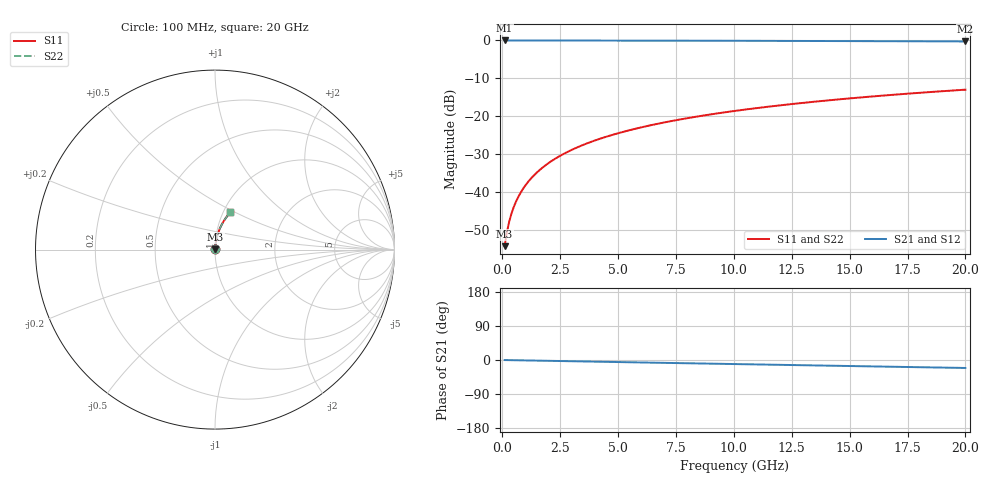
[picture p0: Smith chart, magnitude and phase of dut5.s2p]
! Touchstone file exported from HFSS 2026.1.0
!  File:  C:/ffzhzh/LocalFiles/Ansys_Project_Files/temp_test_BSMRDL_5_1782907247_13352.aedt
!  Generated:  08:02:05 PM Jul  1, 2026
!  Design:  BSMRDL
!  Project:  temp_test_BSMRDL_5_1782907247_13352
! Variables:
!  h_bsmrdl = 3.46um
!  h_ox = 20um
!  h_rdl = 5um
!  h_sub = 80um
!  h_tmrdl = 5um
!  h_tsv = 80um
!  h_via = 3um
!  l_bsmrdl = 256.47um
!  l_sub = 656.47um
!  l_tmrdl = 200um
!  m_sub = 200um
!  pitch = 50.98um
!  r_tsv = 6um
!  s_tmrdl = 10um
!  w_bsmrdl = 21.28um
!  w_sub = 500um
!  w_tmrdl = 12um
!  x_tsv_center1 = 206um
!  x_tsv_center2 = 483.75um
!  x_tsv_center3 = 695.75um
!  x_tsv_center4 = 973.5um
!  x_tsv_center5 = 1185.5um
!  x_tsv_center6 = 1463.25um
# GHz S MA R 50.000000
! Terminal data exported
! Port[1] = BSM_RDL1_1_T1
! Port[2] = BSM_RDL1_1_T2
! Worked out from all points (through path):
!   200 points, 100 MHz to 20 GHz, reference 50 ohm
!   highest |S21| = -0.01 dB at 100 MHz (marker M1); lowest = -0.3 dB at 20 GHz (marker M2)
!   group delay of S21, straight-line fit = 2.92 ps
!   lowest |S11| = -54.2 dB at 100 MHz (marker M3), VSWR 1.00, Z = 50.1 + j0.13 ohm
!   |S11| at or under -10 dB: start of sweep to end of sweep
!   |S22| runs from -54.2 to -13.0 dB; largest |S21 - S12| = 3.5e-15
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0.1  0.001947 41.7  0.9985 -0.1  0.9985 -0.1  0.001947 41.7
! Gamma 0 0 0 0
! Port Impedance 50 0 50 0
0.2  0.002978 59.4  0.9985 -0.2  0.9985 -0.2  0.002978 59.4
0.3  0.004118 67.2  0.9984 -0.3  0.9984 -0.3  0.004118 67.2
0.4  0.005278 71.6  0.9984 -0.4  0.9984 -0.4  0.005278 71.6
0.5  0.006444 74.4  0.9983 -0.6  0.9983 -0.6  0.006444 74.4
0.6  0.007614 76.4  0.9983 -0.7  0.9983 -0.7  0.007614 76.4
0.8  0.009965 78.9  0.9982 -0.9  0.9982 -0.9  0.009965 78.9
1.1  0.01352 81.1  0.9981 -1.2  0.9981 -1.2  0.01352 81.1
1.5  0.01828 82.5  0.998 -1.6  0.998 -1.6  0.01828 82.5
1.8  0.02186 83.0  0.9978 -2.0  0.9978 -2.0  0.02186 83.0
2.1  0.02545 83.3  0.9977 -2.3  0.9977 -2.3  0.02545 83.3
2.7  0.03261 83.4  0.9974 -2.9  0.9974 -2.9  0.03261 83.4
3.5  0.04213 83.1  0.9969 -3.8  0.9969 -3.8  0.04213 83.1
4.2  0.05042 82.7  0.9963 -4.6  0.9963 -4.6  0.05042 82.7
5  0.05985 82.1  0.9956 -5.4  0.9956 -5.4  0.05985 82.1
5.9  0.07038 81.3  0.9946 -6.4  0.9946 -6.4  0.07038 81.3
6.8  0.08082 80.4  0.9936 -7.4  0.9936 -7.4  0.08082 80.4
8.3  0.09805 79.0  0.9916 -8.9  0.9916 -8.9  0.09805 79.0
10.1  0.1184 77.2  0.989 -10.8  0.989 -10.8  0.1184 77.2
13.4  0.1549 74.0  0.9832 -14.3  0.9832 -14.3  0.1549 74.0
16.7  0.1903 70.7  0.9765 -17.7  0.9765 -17.7  0.1903 70.7
20  0.2244 67.5  0.9688 -21.0  0.9688 -21.0  0.2244 67.5
